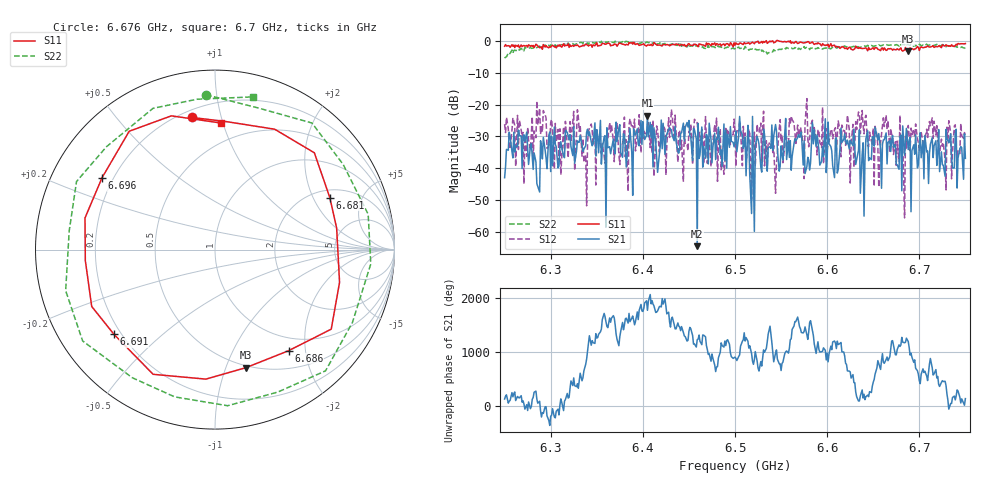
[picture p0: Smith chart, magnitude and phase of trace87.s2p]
# Hz S RI R 50
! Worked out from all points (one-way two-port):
!   401 points, 6.25 GHz to 6.75 GHz, reference 50 ohm
!   highest |S21| = -23.54 dB at 6.405 GHz (marker M1); lowest = -64.5 dB at 6.459 GHz (marker M2)
!   lowest |S11| = -3.4 dB at 6.688 GHz (marker M3), VSWR 5.25, Z = 24.1 - j59 ohm
!   |S11| at or under -10 dB: nowhere
!   |S22| runs from -5.5 to -0.1 dB; largest |S21 - S12| = 0.12
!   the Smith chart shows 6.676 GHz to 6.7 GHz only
!   S11 on the Smith chart (normalised r, x): 6.676 GHz: 0.24, +0.81; 6.681 GHz: 2.38, +2.71; 6.686 GHz: 0.77, -1.69; 6.691 GHz: 0.17, -0.35; 6.696 GHz: 0.16, +0.28; 6.7 GHz: 0.35, +0.99
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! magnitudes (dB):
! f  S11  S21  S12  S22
! 6.25 GHz  -1.7  -43.0  -26.2  -5.5
! 6.334 GHz  -1.7  -32.7  -36.2  -0.6
! 6.405 GHz  -1.3  -23.5  -28.2  -0.4
! 6.418 GHz  -1.4  -35.3  -35.0  -1.0
! 6.449 GHz  -1.0  -27.0  -34.5  -1.5
! 6.459 GHz  -1.5  -64.5  -25.7  -1.7
! 6.5 GHz  -1.4  -31.6  -28.8  -2.5
! 6.519 GHz  -0.4  -23.7  -29.8  -2.5
! 6.542 GHz  -0.6  -29.9  -32.9  -2.8
! 6.584 GHz  -0.4  -25.7  -24.9  -2.3
! 6.628 GHz  -2.9  -32.9  -26.2  -1.9
! 6.639 GHz  -2.4  -32.0  -26.6  -1.7
! 6.654 GHz  -2.2  -29.7  -29.5  -1.5
! 6.668 GHz  -2.5  -31.4  -35.1  -1.3
! 6.676 GHz  -2.5  -38.9  -31.5  -1.3
! 6.681 GHz  -3.1  -47.1  -30.2  -1.2
! 6.686 GHz  -3.1  -27.5  -33.7  -1.2
! 6.688 GHz  -3.4  -34.2  -26.6  -1.2
! 6.691 GHz  -2.7  -53.7  -27.4  -1.0
! 6.696 GHz  -2.5  -29.5  -26.1  -1.6
! 6.7 GHz  -3.0  -32.8  -34.4  -1.1
! 6.75 GHz  -0.9  -36.9  -29.8  -2.5
